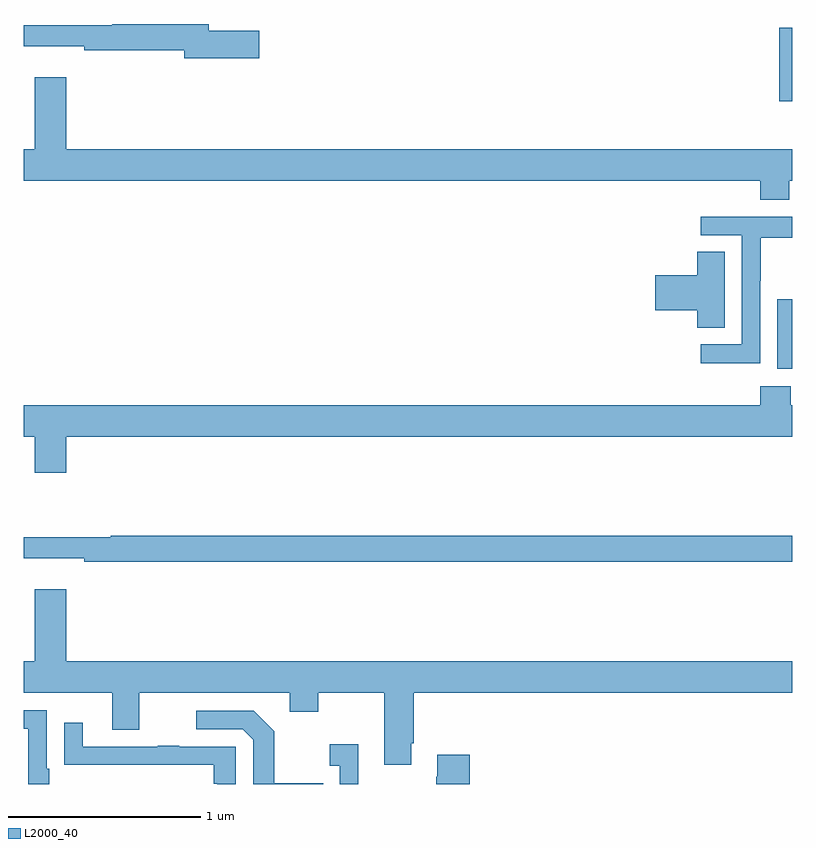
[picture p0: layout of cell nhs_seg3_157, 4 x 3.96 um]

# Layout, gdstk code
import gdstk
lib = gdstk.Library(unit=1e-6, precision=1e-09)
def R(c, l, rs):  # rectangles x0, y0, x1, y1
    for r in rs: c.add(gdstk.rectangle(r[:2], r[2:], *l))
def P(c, l, *ps):  # polygons
    for p in ps: c.add(gdstk.Polygon(p, *l))
L2000_40 = (2000, 40)

nhs_seg3_157 = lib.new_cell('nhs_seg3_157')
R(nhs_seg3_157, L2000_40, [(120.923,742.562,121,742.923), (120.932,743.955,121,744.336)])
P(nhs_seg3_157, L2000_40, [(118.225,744.32),(117.964,744.32),(117.964,744.356),(117.46,744.356),(117.46,744.349),(117,744.349),(117,744.239),(117.316,744.239),(117.316,744.22),(117.836,744.22),(117.836,744.178),(118.225,744.178)],
  [(120.985,743.54),(121,743.54),(121,743.704),(117.22,743.704),(117.22,744.079),(117.056,744.079),(117.056,743.704),(117,743.704),(117,743.54),(120.833,743.54),(120.833,743.441),(120.985,743.441)],
  [(120.834,743.02),(120.837,743.02),(120.837,743.244),(121,743.244),(121,743.352),(120.525,743.352),(120.525,743.256),(120.738,743.256),(120.738,742.689),(120.525,742.689),(120.525,742.591),(120.834,742.591)],
  [(120.649,743.171),(120.506,743.171),(120.506,743.048),(120.288,743.048),(120.288,742.865),(120.506,742.865),(120.506,742.774),(120.649,742.774)],
  [(117.22,742.208),(121,742.208),(121,742.372),(120.993,742.372),(120.993,742.471),(120.833,742.471),(120.833,742.372),(117,742.372),(117,742.208),(117.056,742.208),(117.056,742.02),(117.22,742.02)],
  [(121,741.692),(117.452,741.692),(117.452,741.685),(117,741.685),(117,741.575),(117.316,741.575),(117.316,741.556),(121,741.556)],
  [(119.017,740.611),(119.03,740.611),(119.03,740.876),(121,740.876),(121,741.04),(117.22,741.04),(117.22,741.415),(117.056,741.415),(117.056,741.04),(117,741.04),(117,740.876),(117.461,740.876),(117.461,740.682),(117.601,740.682),(117.601,740.876),(118.385,740.876),(118.385,740.777),(118.533,740.777),(118.533,740.876),(118.877,740.876),(118.877,740.499),(119.017,740.499)],
  [(117.133,740.479),(117.12,740.479),(117.12,740.784),(117,740.784),(117,740.688),(117.024,740.688),(117.024,740.4),(117.133,740.4)],
  [(118.559,740.403),(118.303,740.403),(118.303,740.675),(118.197,740.781),(117.897,740.781),(117.897,740.685),(118.14,740.685),(118.194,740.631),(118.194,740.4),(118.559,740.4)],
  [(118.104,740.595),(117.809,740.595),(117.809,740.6),(117.697,740.6),(117.697,740.595),(117.307,740.595),(117.307,740.719),(117.211,740.719),(117.211,740.5),(117.313,740.5),(117.313,740.499),(117.988,740.499),(117.988,740.402),(118.008,740.402),(118.008,740.4),(118.104,740.4)],
  [(118.741,740.608),(118.593,740.608),(118.593,740.495),(118.644,740.495),(118.644,740.4),(118.741,740.4)],
  [(119.321,740.551),(119.153,740.551),(119.153,740.438),(119.146,740.438),(119.146,740.4),(119.321,740.4)])

lib.write_gds('nhs_seg3_157.gds')
